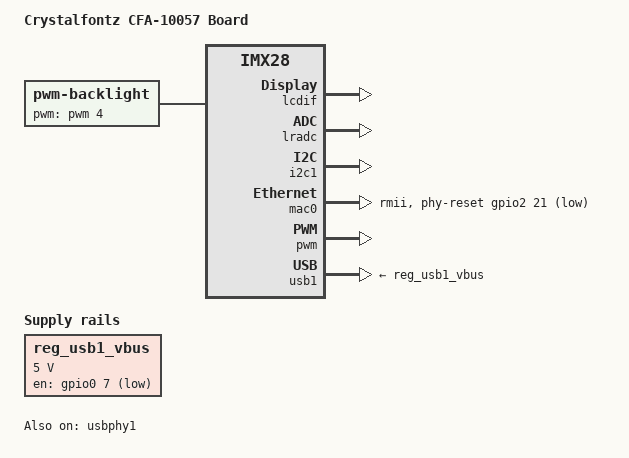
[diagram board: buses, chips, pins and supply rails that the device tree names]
// SPDX-License-Identifier: GPL-2.0-or-later
/*
 * Copyright 2013 Crystalfontz America, Inc.
 * Copyright 2012 Free Electrons
 */

/*
 * The CFA-10057 is an expansion board for the CFA-10036 module, thus we
 * need to include the CFA-10036 DTS.
 */
#include "imx28-cfa10036.dts"

/ {
	model = "Crystalfontz CFA-10057 Board";
	compatible = "crystalfontz,cfa10057", "crystalfontz,cfa10036", "fsl,imx28";

	regulators {
		compatible = "simple-bus";
		#address-cells = <1>;
		#size-cells = <0>;

		reg_usb1_vbus: regulator@0 {
			compatible = "regulator-fixed";
			reg = <0>;
			pinctrl-names = "default";
			pinctrl-0 = <&usb_pins_cfa10057>;
			regulator-name = "usb1_vbus";
			regulator-min-microvolt = <5000000>;
			regulator-max-microvolt = <5000000>;
			gpio = <&gpio0 7 1>;
		};
	};

	backlight {
		compatible = "pwm-backlight";
		pwms = <&pwm 4 5000000>;
		brightness-levels = <0 4 8 16 32 64 128 255>;
		default-brightness-level = <7>;
	};
};

&lcdif {
	pinctrl-names = "default";
	pinctrl-0 = <&lcdif_18bit_pins_cfa10057
		     &lcdif_pins_cfa10057>;
	display = <&display0>;
	status = "okay";

	display0: display0 {
		bits-per-pixel = <32>;
		bus-width = <18>;

		display-timings {
			native-mode = <&timing0>;
			timing0: timing0 {
				clock-frequency = <30000000>;
				hactive = <480>;
				vactive = <800>;
				hfront-porch = <12>;
				hback-porch = <2>;
				vfront-porch = <5>;
				vback-porch = <3>;
				hsync-len = <2>;
				vsync-len = <2>;
				hsync-active = <0>;
				vsync-active = <0>;
				de-active = <1>;
				pixelclk-active = <1>;
			};
		};
	};
};

&lradc {
	fsl,lradc-touchscreen-wires = <4>;
	status = "okay";
};

&i2c1 {
	pinctrl-names = "default";
	pinctrl-0 = <&i2c1_pins_a>;
	status = "okay";
};

&mac0 {
	phy-mode = "rmii";
	pinctrl-names = "default";
	pinctrl-0 = <&mac0_pins_a>;
	phy-reset-gpios = <&gpio2 21 GPIO_ACTIVE_LOW>;
	phy-reset-duration = <100>;
	status = "okay";
};

&pinctrl {
	usb_pins_cfa10057: usb-10057@0 {
		reg = <0>;
		fsl,pinmux-ids = <
			MX28_PAD_GPMI_D07__GPIO_0_7
		>;
		fsl,drive-strength = <MXS_DRIVE_4mA>;
		fsl,voltage = <MXS_VOLTAGE_HIGH>;
		fsl,pull-up = <MXS_PULL_DISABLE>;
	};

	lcdif_18bit_pins_cfa10057: lcdif-18bit@0 {
		reg = <0>;
		fsl,pinmux-ids = <
			MX28_PAD_LCD_D00__LCD_D0
			MX28_PAD_LCD_D01__LCD_D1
			MX28_PAD_LCD_D02__LCD_D2
			MX28_PAD_LCD_D03__LCD_D3
			MX28_PAD_LCD_D04__LCD_D4
			MX28_PAD_LCD_D05__LCD_D5
			MX28_PAD_LCD_D06__LCD_D6
			MX28_PAD_LCD_D07__LCD_D7
			MX28_PAD_LCD_D08__LCD_D8
			MX28_PAD_LCD_D09__LCD_D9
			MX28_PAD_LCD_D10__LCD_D10
			MX28_PAD_LCD_D11__LCD_D11
			MX28_PAD_LCD_D12__LCD_D12
			MX28_PAD_LCD_D13__LCD_D13
			MX28_PAD_LCD_D14__LCD_D14
			MX28_PAD_LCD_D15__LCD_D15
			MX28_PAD_LCD_D16__LCD_D16
			MX28_PAD_LCD_D17__LCD_D17
		>;
		fsl,drive-strength = <MXS_DRIVE_4mA>;
		fsl,voltage = <MXS_VOLTAGE_HIGH>;
		fsl,pull-up = <MXS_PULL_DISABLE>;
	};

	lcdif_pins_cfa10057: lcdif-evk@0 {
		reg = <0>;
		fsl,pinmux-ids = <
			MX28_PAD_LCD_RD_E__LCD_VSYNC
			MX28_PAD_LCD_WR_RWN__LCD_HSYNC
			MX28_PAD_LCD_RS__LCD_DOTCLK
			MX28_PAD_LCD_CS__LCD_ENABLE
		>;
		fsl,drive-strength = <MXS_DRIVE_4mA>;
		fsl,voltage = <MXS_VOLTAGE_HIGH>;
		fsl,pull-up = <MXS_PULL_DISABLE>;
	};
};

&pwm {
	pinctrl-names = "default";
	pinctrl-0 = <&pwm4_pins_a>;
	status = "okay";
};

&usb1 {
	vbus-supply = <&reg_usb1_vbus>;
	pinctrl-0 = <&usb1_pins_a>;
	pinctrl-names = "default";
	status = "okay";
};

&usbphy1 {
	status = "okay";
};
